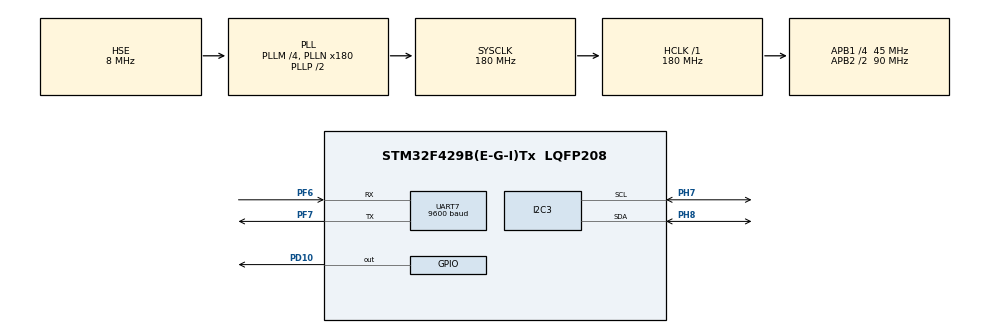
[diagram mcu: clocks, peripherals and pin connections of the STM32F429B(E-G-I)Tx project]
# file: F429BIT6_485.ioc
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Dma.I2C3_RX.0.Direction=DMA_PERIPH_TO_MEMORY
Dma.I2C3_RX.0.FIFOMode=DMA_FIFOMODE_DISABLE
Dma.I2C3_RX.0.Instance=DMA1_Stream2
Dma.I2C3_RX.0.MemDataAlignment=DMA_MDATAALIGN_BYTE
Dma.I2C3_RX.0.MemInc=DMA_MINC_ENABLE
Dma.I2C3_RX.0.Mode=DMA_NORMAL
Dma.I2C3_RX.0.PeriphDataAlignment=DMA_PDATAALIGN_BYTE
Dma.I2C3_RX.0.PeriphInc=DMA_PINC_DISABLE
Dma.I2C3_RX.0.Priority=DMA_PRIORITY_LOW
Dma.I2C3_TX.1.Direction=DMA_MEMORY_TO_PERIPH
Dma.I2C3_TX.1.FIFOMode=DMA_FIFOMODE_DISABLE
Dma.I2C3_TX.1.Instance=DMA1_Stream4
Dma.I2C3_TX.1.MemDataAlignment=DMA_MDATAALIGN_BYTE
Dma.I2C3_TX.1.MemInc=DMA_MINC_ENABLE
Dma.I2C3_TX.1.Mode=DMA_CIRCULAR
Dma.I2C3_TX.1.PeriphDataAlignment=DMA_PDATAALIGN_BYTE
Dma.I2C3_TX.1.PeriphInc=DMA_PINC_DISABLE
Dma.I2C3_TX.1.Priority=DMA_PRIORITY_LOW
Dma.Request0=I2C3_RX
Dma.Request1=I2C3_TX
Mcu.Family=STM32F4
Mcu.Name=STM32F429B(E-G-I)Tx
Mcu.Package=LQFP208
NVIC.DMA1_Stream2_IRQn=true\:0\:0\:false\:false\:true\:false\:true\:true
NVIC.DMA1_Stream4_IRQn=true\:0\:0\:false\:false\:true\:false\:true\:true
NVIC.I2C3_ER_IRQn=true\:0\:0\:false\:false\:true\:true\:true\:true
NVIC.I2C3_EV_IRQn=true\:0\:0\:false\:false\:true\:true\:true\:true
NVIC.PriorityGroup=NVIC_PRIORITYGROUP_4
NVIC.UART7_IRQn=true\:0\:0\:false\:false\:true\:true\:true\:true
PA13.Mode=Serial_Wire
PA13.Signal=SYS_JTMS-SWDIO
PA14.Mode=Serial_Wire
PA14.Signal=SYS_JTCK-SWCLK
PD10.Signal=GPIO_Output
PF6.Mode=Asynchronous
PF6.Signal=UART7_RX
PF7.Mode=Asynchronous
PF7.Signal=UART7_TX
PH0/OSC_IN.Mode=HSE-External-Oscillator
PH0/OSC_IN.Signal=RCC_OSC_IN
PH1/OSC_OUT.Mode=HSE-External-Oscillator
PH1/OSC_OUT.Signal=RCC_OSC_OUT
PH7.Mode=I2C
PH7.Signal=I2C3_SCL
PH8.Mode=I2C
PH8.Signal=I2C3_SDA
ProjectManager.HeapSize=0x200
ProjectManager.StackSize=0x400
ProjectManager.TargetToolchain=MDK-ARM V5.32
RCC.48MHZClocksFreq_Value=90000000
RCC.AHBFreq_Value=180000000
RCC.APB1CLKDivider=RCC_HCLK_DIV4
RCC.APB1Freq_Value=45000000
RCC.APB1TimFreq_Value=90000000
RCC.APB2CLKDivider=RCC_HCLK_DIV2
RCC.APB2Freq_Value=90000000
RCC.APB2TimFreq_Value=180000000
RCC.CortexFreq_Value=180000000
RCC.HCLKFreq_Value=180000000
RCC.HSE_VALUE=8000000
RCC.HSI_VALUE=16000000
RCC.LSE_VALUE=32768
RCC.PLLM=4
RCC.PLLN=180
RCC.PLLSourceVirtual=RCC_PLLSOURCE_HSE
RCC.SYSCLKFreq_VALUE=180000000
RCC.SYSCLKSource=RCC_SYSCLKSOURCE_PLLCLK
RCC.VCOOutputFreq_Value=360000000
UART7.BaudRate=9600
UART7.VirtualMode=Asynchronous
board=custom

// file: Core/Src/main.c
/* USER CODE BEGIN Header */
/**
  ******************************************************************************
  * @file           : main.c
  * @brief          : Main program body
  ******************************************************************************
  * @attention
  *
  * Copyright (c) 2024 STMicroelectronics.
  * All rights reserved.
  *
  * This software is licensed under terms that can be found in the LICENSE file
  * in the root directory of this software component.
  * If no LICENSE file comes with this software, it is provided AS-IS.
  *
  ******************************************************************************
  */
/* USER CODE END Header */
#include "main.h"
#include "dma.h"
#include "i2c.h"
#include "usart.h"
#include "gpio.h"

/* USER CODE BEGIN Includes */
#define RXBUFFERSIZE                 100
#include "stdio.h"
#include <string.h>
#include "eeprom.h"
/* USER CODE END Includes */

/* USER CODE BEGIN PV */

	void RS_485_Send( const uint8_t *pData, uint16_t Size)
	{
			HAL_GPIO_WritePin(GPIOD,GPIO_PIN_10,GPIO_PIN_SET);
			HAL_UART_Transmit_IT(&huart7,pData,Size);
	}

/* USER CODE END PV */

void SystemClock_Config(void);

/* USER CODE BEGIN 0 */
uint8_t rs485_buff[8];
	uint8_t data_485[8];
uint8_t count=0;
uint8_t re_flag=0;
uint8_t re2_flag=0;
uint8_t uart7_flag=0;
uint8_t recerve_2[]={0x01, 0x03, 0x00, 0xC0 ,0x00 ,0x08,0x44,0x30};
uint8_t recerve_1[]={0x01, 0x03, 0x00, 0x00 ,0x00 ,0x66,0xC5,0xE0};
uint8_t data_1[]={0x01,0x03,0x66,0x00,0x01,0x00,0x01,0x00,0x01,0x00,0x01,0x00,0x00,0x00,0x00,0x00,0x00,0x00,0x00,0x00,0x01,0x00,0x00,0x00,0x00,0x00,0x00,0x00,0x00,0x00,0x00,0x00,0x00,0x00,0x00,0x00,0x00,0x00,0x00,0x00,0x00,0x00,0x00,0x00,0x00,0x00,0x00,0x00,0x00,0x00,0x00,0x00,0x00,0x00,0x00,0x00,0x00,0x00,0x00,0x00,0x00,0x00,0x00,0x00,0x00,0x00,0x00,0x00,0x00,0x00,0x00,0x00,0x00,0x00,0x00,0x00,0x00,0x00,0x00,0x00,0x00,0x00,0x00,0x00,0x00,0x00,0x00,0x00,0x00,0x00,0x00,0x00,0x00,0x00,0x00,0x00,0x00,0x00,0x00,0x00,0x00,0x00,0x00,0x00,0x00,0x00,0x00,0x00,0x00,0x00,0x00,0x00,0x00,0x00,0x00,0x00,0x00,0x00,0x00,0x00,0x00,0x00,0x00,0x00,0x50,0x00,0x5c,0x00,0x78,0x00,0x77,0x05,0xdc,0x10,0x68,0x00,0x3c,0x00,0x77,0x05,0xdc,0x10,0x68,0x00,0x3d,0x00,0x4d,0x00,0x00,0x00,0x00,0x00,0x00,0x00,0x00,0x00,0x00,0x00,0x00,0x00,0x00,0x00,0x00,0x00,0x00,0x00,0x00,0x00,0x00,0x00,0x00,0x00,0x00,0x00,0x00,0x00,0x00,0x00,0x00,0x00,0x00,0x00,0x00,0x00,0x00,0x00,0x00,0x00,0x00,0x00,0x00,0x00,0x00,0x00,0x00,0x00,0x00,0x00,0x00,0x00,0x00,0x00,0x00,0x00,0x00,0x00,0x00,0x9c,0x02};
uint8_t data_2[]={0x01,0x03 ,0x08 ,0x00 ,0x20 ,0x00 ,0x30 ,0x00 ,0x04 ,0x00 ,0x05 ,0x00 ,0x06 ,0x00 ,0x07 ,0x00 ,0x08 ,0x00 ,0x09 ,0xB7 ,0xD2};
/* USER CODE END 0 */

int main(void)
{

  /* MCU Configuration--------------------------------------------------------*/

  /* Reset of all peripherals, Initializes the Flash interface and the Systick. */
  HAL_Init();

  /* Configure the system clock */
  SystemClock_Config();

  /* Initialize all configured peripherals */
  MX_GPIO_Init();
  MX_DMA_Init();
  MX_UART7_Init();
  MX_I2C3_Init();
  /* USER CODE BEGIN 2 */
		if(HAL_UART_Receive_IT(&huart7,rs485_buff,8)!=HAL_OK);//接收中断使能

//				I2C_Test();		// EEPROM读写测试
//		I2C_ReadData();		// EEPROM读测试
		//使能空闲中断
  /* USER CODE END 2 */

  /* Infinite loop */
  /* USER CODE BEGIN WHILE */
  while (1)
  {
//		if(uart7_flag)
//		{
//				if(re_flag)
//				{
//						RS_485_Send(data_1,209);
//						re_flag=0;
//						uart7_flag=0;
//				}
//				if(re2_flag)
//				{
//						RS_485_Send(data_2,21);
//						re2_flag=0;
//						uart7_flag=0;
//				}
//		}
//		printf("321");
//		HAL_Delay(100);
    /* USER CODE END WHILE */

  }
}

void SystemClock_Config(void)
{
  RCC_OscInitTypeDef RCC_OscInitStruct = {0};
  RCC_ClkInitTypeDef RCC_ClkInitStruct = {0};

  /** Configure the main internal regulator output voltage
  */
  __HAL_RCC_PWR_CLK_ENABLE();
  __HAL_PWR_VOLTAGESCALING_CONFIG(PWR_REGULATOR_VOLTAGE_SCALE1);

  /** Initializes the RCC Oscillators according to the specified parameters
  * in the RCC_OscInitTypeDef structure.
  */
  RCC_OscInitStruct.OscillatorType = RCC_OSCILLATORTYPE_HSE;
  RCC_OscInitStruct.HSEState = RCC_HSE_ON;
  RCC_OscInitStruct.PLL.PLLState = RCC_PLL_ON;
  RCC_OscInitStruct.PLL.PLLSource = RCC_PLLSOURCE_HSE;
  RCC_OscInitStruct.PLL.PLLM = 4;
  RCC_OscInitStruct.PLL.PLLN = 180;
  RCC_OscInitStruct.PLL.PLLP = RCC_PLLP_DIV2;
  RCC_OscInitStruct.PLL.PLLQ = 4;
  if (HAL_RCC_OscConfig(&RCC_OscInitStruct) != HAL_OK)
  {
    Error_Handler();
  }

  /** Activate the Over-Drive mode
  */
  if (HAL_PWREx_EnableOverDrive() != HAL_OK)
  {
    Error_Handler();
  }

  /** Initializes the CPU, AHB and APB buses clocks
  */
  RCC_ClkInitStruct.ClockType = RCC_CLOCKTYPE_HCLK|RCC_CLOCKTYPE_SYSCLK
                              |RCC_CLOCKTYPE_PCLK1|RCC_CLOCKTYPE_PCLK2;
  RCC_ClkInitStruct.SYSCLKSource = RCC_SYSCLKSOURCE_PLLCLK;
  RCC_ClkInitStruct.AHBCLKDivider = RCC_SYSCLK_DIV1;
  RCC_ClkInitStruct.APB1CLKDivider = RCC_HCLK_DIV4;
  RCC_ClkInitStruct.APB2CLKDivider = RCC_HCLK_DIV2;

  if (HAL_RCC_ClockConfig(&RCC_ClkInitStruct, FLASH_LATENCY_5) != HAL_OK)
  {
    Error_Handler();
  }
}

/* USER CODE BEGIN 4 */
void HAL_UART_TxCpltCallback(UART_HandleTypeDef *huart)
{
	if(huart== &huart7)
			HAL_GPIO_WritePin(GPIOD,GPIO_PIN_10,GPIO_PIN_RESET);
}

void HAL_UART_RxCpltCallback(UART_HandleTypeDef *huart)
{
	int ret1,ret2;
	if(huart == &huart7)
	{
		for(int i=0;i<8;i++)
		{
				data_485[i]=rs485_buff[i];
		}
		ret1 =	memcmp(data_485,recerve_1,8);
		if(ret1==0)
			re_flag=1;
		 ret2 =	memcmp(data_485,recerve_2,8);
		if(ret2==0)
			re2_flag=1;
		uart7_flag=1;
	}
      //把接收到的数据从rs485_buff复制到data_485里，然后启动新的一次接收
		HAL_UART_Receive_IT(&huart7,rs485_buff,8);//接收中断使能
}

/* USER CODE END 4 */

void Error_Handler(void)
{
  __disable_irq();
  while (1)
  {
  }
}
